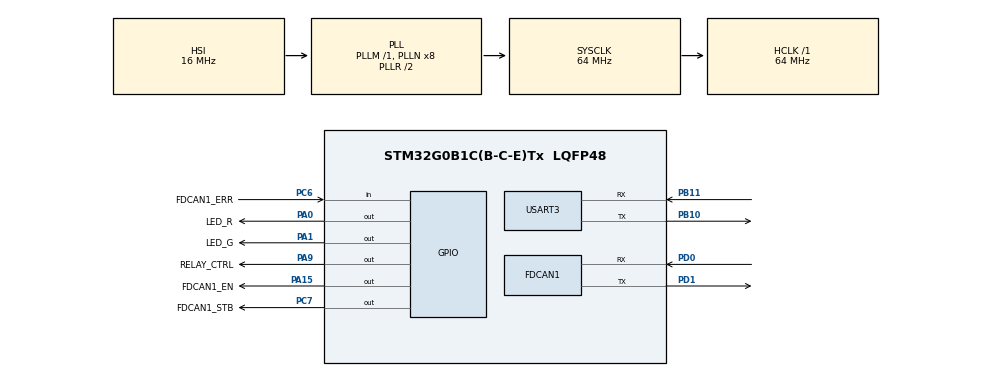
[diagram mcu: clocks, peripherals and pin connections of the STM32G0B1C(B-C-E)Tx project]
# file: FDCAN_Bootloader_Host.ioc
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FDCAN1.AutoRetransmission=ENABLE
FDCAN1.CalculateBaudRateNominal=500000
FDCAN1.CalculateTimeBitNominal=2000
FDCAN1.CalculateTimeQuantumNominal=125.0
FDCAN1.ClockDivider=FDCAN_CLOCK_DIV1
FDCAN1.DataPrescaler=2
FDCAN1.DataSyncJumpWidth=3
FDCAN1.DataTimeSeg1=12
FDCAN1.DataTimeSeg2=3
FDCAN1.FrameFormat=FDCAN_FRAME_FD_BRS
FDCAN1.NominalPrescaler=8
FDCAN1.NominalSyncJumpWidth=3
FDCAN1.NominalTimeSeg1=12
FDCAN1.NominalTimeSeg2=3
FDCAN1.StdFiltersNbr=1
Mcu.Family=STM32G0
Mcu.Name=STM32G0B1C(B-C-E)Tx
Mcu.Package=LQFP48
NVIC.TIM16_FDCAN_IT0_IRQn=true\:0\:0\:true\:false\:true\:true\:true\:true
PA0.GPIO_Label=LED_R
PA0.Signal=GPIO_Output
PA1.GPIO_Label=LED_G
PA1.Signal=GPIO_Output
PA13.Mode=Serial_Wire
PA13.Signal=SYS_SWDIO
PA14-BOOT0.Mode=Serial_Wire
PA14-BOOT0.Signal=SYS_SWCLK
PA15.GPIO_Label=FDCAN1_EN
PA15.Signal=GPIO_Output
PA9.GPIO_Label=RELAY_CTRL
PA9.Signal=GPIO_Output
PB10.Mode=Asynchronous
PB10.Signal=USART3_TX
PB11.Mode=Asynchronous
PB11.Signal=USART3_RX
PC6.GPIO_Label=FDCAN1_ERR
PC6.GPIO_PuPd=GPIO_PULLUP
PC6.Signal=GPIO_Input
PC7.GPIO_Label=FDCAN1_STB
PC7.Signal=GPIO_Output
PD0.Mode=FDCAN_Activate
PD0.Signal=FDCAN1_RX
PD1.Mode=FDCAN_Activate
PD1.Signal=FDCAN1_TX
PF0-OSC_IN\ (PF0).Mode=HSE-External-Oscillator
PF0-OSC_IN\ (PF0).Signal=RCC_OSC_IN
PF1-OSC_OUT\ (PF1).Mode=HSE-External-Oscillator
PF1-OSC_OUT\ (PF1).Signal=RCC_OSC_OUT
ProjectManager.HeapSize=0x200
ProjectManager.StackSize=0x400
ProjectManager.TargetToolchain=STM32CubeIDE
RCC.ADCFreq_Value=64000000
RCC.AHBFreq_Value=64000000
RCC.CortexFreq_Value=64000000
RCC.EXTERNAL_CLOCK_VALUE=48000
RCC.HCLKFreq_Value=64000000
RCC.HSE_VALUE=8000000
RCC.HSI48_VALUE=48000000
RCC.HSI_VALUE=16000000
RCC.LSE_VALUE=32768
RCC.SYSCLKFreq_VALUE=64000000
RCC.SYSCLKSource=RCC_SYSCLKSOURCE_PLLCLK
RCC.USBFreq_Value=48000000
RCC.VCOOutputFreq_Value=128000000
USART3.VirtualMode-Asynchronous=VM_ASYNC
VP_SYS_VS_DBSignals.Mode=DisableDeadBatterySignals
board=custom

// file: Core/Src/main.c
/* USER CODE BEGIN Header */
/**
  ******************************************************************************
  * @file           : main.c
  * @brief          : Main program body
  ******************************************************************************
  * @attention
  *
  * Copyright (c) 2024 STMicroelectronics.
  * All rights reserved.
  *
  * This software is licensed under terms that can be found in the LICENSE file
  * in the root directory of this software component.
  * If no LICENSE file comes with this software, it is provided AS-IS.
  *
  ******************************************************************************
  */
/* USER CODE END Header */
#include "main.h"
#include "fdcan.h"
#include "usart.h"
#include "gpio.h"

/* USER CODE BEGIN Includes */
#include "FDCAN_Flash_host.h"
#include "string.h"
#include "Bsp.h"
/* USER CODE END Includes */

/* USER CODE BEGIN PV */
#ifdef __GNUC__
#define PUTCHAR_PROTOTYPE int __io_putchar(int ch)
#else
#define PUTCHAR_PROTOTYPE int fputc(int ch, FILE *f)
#endif /* __GNUC__ */

#ifdef __cplusplus
extern "C" {
#endif
PUTCHAR_PROTOTYPE
{
    HAL_UART_Transmit(&huart3 , (uint8_t *)&ch, 1, HAL_MAX_DELAY);
    return ch;
}
#ifdef __cplusplus
}
#endif
/* USER CODE END PV */

void SystemClock_Config(void);

int main(void)
{

  /* MCU Configuration--------------------------------------------------------*/

  /* Reset of all peripherals, Initializes the Flash interface and the Systick. */
  HAL_Init();

  /* Configure the system clock */
  SystemClock_Config();

  /* USER CODE BEGIN SysInit */
  int i,ack,count;
  uint32_t address;
  uint32_t add;
  uint8_t data[256]={0};
  uint8_t data_e[64]={0};
  uint8_t txdata_w[5] = {0x08,0x00,0x30,0x00,0xFF};
  uint8_t txdata_e[2] = {0x00};
  /* USER CODE END SysInit */

  /* Initialize all configured peripherals */
  MX_GPIO_Init();
  MX_FDCAN1_Init();
  MX_USART3_UART_Init();
  /* USER CODE BEGIN 2 */
  printf("host\n");
  FDCAN_Enable();
  HAL_Delay(100);
//  FDCAN_GetCommand();
//  FDCAN_GetID();
//  FDCAN_ReadMemory();
//  FDCAN_WriteMemory();
////  HAL_Delay(10);
//  FDCAN_ReadMemory();
//  FDCAN_EraseMemory();
////  HAL_Delay(100);
//  FDCAN_ReadMemory();
//  FDCAN_WriteMemory();
//  FDCAN_ReadMemory();
  /* USER CODE END 2 */

  /* Infinite loop */
  /* USER CODE BEGIN WHILE */
//    FDCAN_GetCommand();
//    FDCAN_GetID();

    count=0;
    txdata_e[1] = 20;
    for(i=0;i<txdata_e[1];i++)
    {
    	data_e[i*2+1] = 6+count++;
    }

    FDCAN_EraseMemory(txdata_e,data_e);

    txdata_e[1] = 20;
    for(i=0;i<txdata_e[1];i++)
	{
		data_e[i*2+1] = 6+count++;
	}

	FDCAN_EraseMemory(txdata_e,data_e);

	txdata_e[1] = 18;
	for(i=0;i<txdata_e[1];i++)
	{
		data_e[i*2+1] = 6+count++;
	}

	FDCAN_EraseMemory(txdata_e,data_e);

    address = 0x08003000;
    for(int j=0;j<236;j++)	//
    {
    	count=0;
    	memset(data, 0, sizeof(data));
    	for(i=0;i<64;i++)
		{
			data[count++] = (uint8_t)(*(__IO uint32_t *)(address));
			data[count++] = (uint8_t)(*(__IO uint32_t *)(address)>>8);
			data[count++] = (uint8_t)(*(__IO uint32_t *)(address)>>16);
			data[count++] = (uint8_t)(*(__IO uint32_t *)(address)>>24);
			address+=4;
		}
    	FDCAN_WriteMemory(txdata_w,data);
    	if(txdata_w[2] == 0xFF)
		{
			txdata_w[1]++;
		}
    	txdata_w[2]++;
    }

    HAL_Delay(1000);
    FDCAN_Go();

	while (1)
	{
//		if(rx_flag == 1)
//		{
//			ack = FDCAN_ReadByte();
//			printf("i=%d,ack:%d\n",i++,ack);
//			rx_flag = 0;
//		}
    /* USER CODE END WHILE */

	}
}

void SystemClock_Config(void)
{
  RCC_OscInitTypeDef RCC_OscInitStruct = {0};
  RCC_ClkInitTypeDef RCC_ClkInitStruct = {0};

  /** Configure the main internal regulator output voltage
  */
  HAL_PWREx_ControlVoltageScaling(PWR_REGULATOR_VOLTAGE_SCALE1);

  /** Initializes the RCC Oscillators according to the specified parameters
  * in the RCC_OscInitTypeDef structure.
  */
  RCC_OscInitStruct.OscillatorType = RCC_OSCILLATORTYPE_HSI;
  RCC_OscInitStruct.HSIState = RCC_HSI_ON;
  RCC_OscInitStruct.HSIDiv = RCC_HSI_DIV1;
  RCC_OscInitStruct.HSICalibrationValue = RCC_HSICALIBRATION_DEFAULT;
  RCC_OscInitStruct.PLL.PLLState = RCC_PLL_ON;
  RCC_OscInitStruct.PLL.PLLSource = RCC_PLLSOURCE_HSI;
  RCC_OscInitStruct.PLL.PLLM = RCC_PLLM_DIV1;
  RCC_OscInitStruct.PLL.PLLN = 8;
  RCC_OscInitStruct.PLL.PLLP = RCC_PLLP_DIV2;
  RCC_OscInitStruct.PLL.PLLQ = RCC_PLLQ_DIV2;
  RCC_OscInitStruct.PLL.PLLR = RCC_PLLR_DIV2;
  if (HAL_RCC_OscConfig(&RCC_OscInitStruct) != HAL_OK)
  {
    Error_Handler();
  }

  /** Initializes the CPU, AHB and APB buses clocks
  */
  RCC_ClkInitStruct.ClockType = RCC_CLOCKTYPE_HCLK|RCC_CLOCKTYPE_SYSCLK
                              |RCC_CLOCKTYPE_PCLK1;
  RCC_ClkInitStruct.SYSCLKSource = RCC_SYSCLKSOURCE_PLLCLK;
  RCC_ClkInitStruct.AHBCLKDivider = RCC_SYSCLK_DIV1;
  RCC_ClkInitStruct.APB1CLKDivider = RCC_HCLK_DIV1;

  if (HAL_RCC_ClockConfig(&RCC_ClkInitStruct, FLASH_LATENCY_2) != HAL_OK)
  {
    Error_Handler();
  }
}

void Error_Handler(void)
{
  __disable_irq();
  while (1)
  {
  }
}
